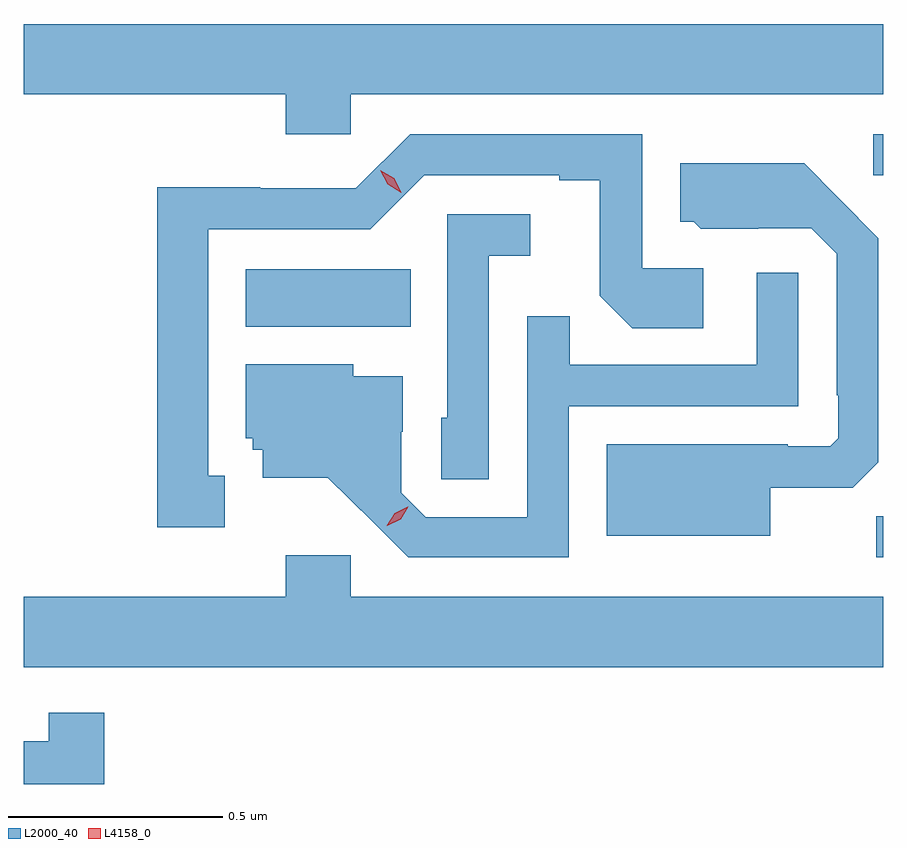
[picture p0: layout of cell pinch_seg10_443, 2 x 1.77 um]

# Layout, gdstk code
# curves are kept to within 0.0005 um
import gdstk
lib = gdstk.Library(unit=1e-6, precision=1e-09)
def R(c, l, rs):  # rectangles x0, y0, x1, y1
    for r in rs: c.add(gdstk.rectangle(r[:2], r[2:], *l))
def P(c, l, *ps):  # polygons
    for p in ps: c.add(gdstk.Polygon(p, *l))
L2000_40 = (2000, 40)
L4158_0 = (4158, 0)

pinch_seg10_443 = lib.new_cell('pinch_seg10_443')
R(pinch_seg10_443, L2000_40, [(391.03,1313.892,391.047,1313.987), (389.564,1314.428,389.948,1314.562), (391.023,1314.78,391.047,1314.876)])
P(pinch_seg10_443, L2000_40, [(389.808,1314.968),(391.047,1314.968),(391.047,1315.132),(389.047,1315.132),(389.047,1314.968),(389.657,1314.968),(389.657,1314.875),(389.808,1314.875)],
  [(389.515,1314.081),(389.476,1314.081),(389.476,1314.654),(389.853,1314.654),(389.979,1314.78),(390.293,1314.78),(390.293,1314.768),(390.387,1314.768),(390.387,1314.5),(390.463,1314.424),(390.628,1314.424),(390.628,1314.564),(390.486,1314.564),(390.486,1314.876),(389.946,1314.876),(389.82,1314.75),(389.598,1314.75),(389.598,1314.752),(389.358,1314.752),(389.358,1313.961),(389.515,1313.961)],
  [(390.784,1314.053),(390.976,1314.053),(391.035,1314.112),(391.035,1314.634),(390.863,1314.808),(390.575,1314.808),(390.575,1314.672),(390.606,1314.672),(390.622,1314.656),(390.756,1314.656),(390.756,1314.657),(390.879,1314.657),(390.939,1314.597),(390.939,1314.268),(390.942,1314.268),(390.942,1314.168),(390.924,1314.15),(390.824,1314.15),(390.824,1314.154),(390.404,1314.154),(390.404,1313.942),(390.784,1313.942)],
  [(390.129,1314.593),(390.226,1314.593),(390.226,1314.69),(390.033,1314.69),(390.033,1314.216),(390.018,1314.216),(390.018,1314.073),(390.129,1314.073)],
  [(390.315,1314.243),(390.849,1314.243),(390.849,1314.553),(390.753,1314.553),(390.753,1314.339),(390.317,1314.339),(390.317,1314.452),(390.219,1314.452),(390.219,1313.985),(389.982,1313.985),(389.925,1314.042),(389.925,1314.184),(389.929,1314.184),(389.929,1314.313),(389.814,1314.313),(389.814,1314.34),(389.564,1314.34),(389.564,1314.168),(389.58,1314.168),(389.58,1314.141),(389.603,1314.141),(389.603,1314.077),(389.755,1314.077),(389.942,1313.892),(390.315,1313.892)],
  [(391.047,1313.8),(389.808,1313.8),(389.808,1313.896),(389.657,1313.896),(389.657,1313.8),(389.047,1313.8),(389.047,1313.636),(391.047,1313.636)],
  [(389.234,1313.53),(389.106,1313.53),(389.106,1313.464),(389.047,1313.464),(389.047,1313.364),(389.234,1313.364)])
P(pinch_seg10_443, L4158_0, [(389.892,1313.965),(389.892,1313.965),(389.91,1313.994),(389.941,1314.009),(389.942,1314.009),(389.942,1314.009),(389.924,1313.98),(389.893,1313.965)],
  [(389.925,1314.74),(389.894,1314.759),(389.877,1314.792),(389.877,1314.792),(389.877,1314.792),(389.909,1314.773),(389.926,1314.74),(389.926,1314.74)])

lib.write_gds('pinch_seg10_443.gds')
